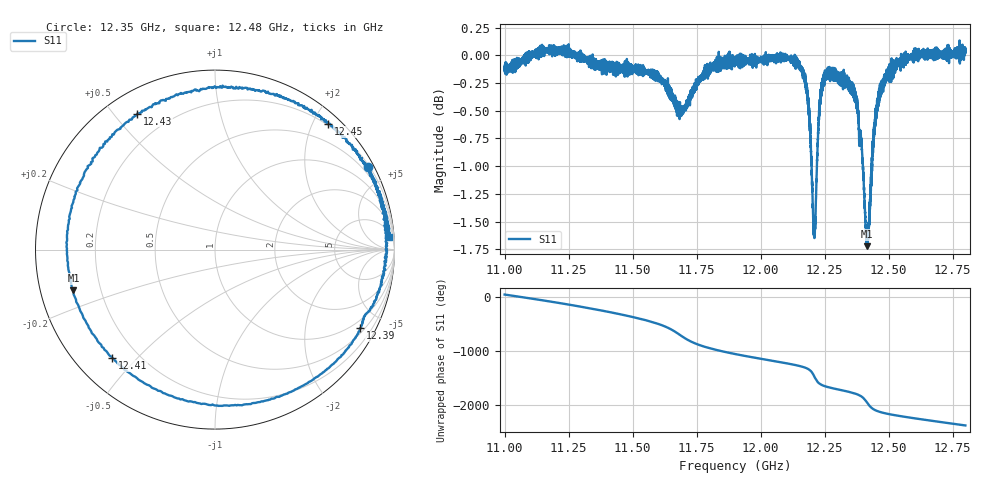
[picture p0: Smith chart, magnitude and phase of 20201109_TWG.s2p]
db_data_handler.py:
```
import sqlite3
from sqlite3 import Error
import os
import matplotlib.pyplot as plt
import seaborn as sns

from scipy.interpolate import interp1d, CubicSpline
import pandas as pd

import numpy as np
from scipy.integrate import simps
import scipy.signal as signal
plt.rcParams['savefig.dpi'] = 500


def connect_db(db_file):
    conn = None
    try:
        conn = sqlite3.connect(db_file)
        cursor = conn.cursor()
        print('connected to db.')
    except Error as e:
        print(e)

    return conn


def select_all_tasks(conn):
    """
    Query all rows in the tasks table
    :param conn: the Connection object
    :return:
    """
    cur = conn.cursor()
    cur.execute("SELECT * FROM home_record")
    rows = cur.fetchall()

    for row in rows:
        print(row)


def select_fs_task_id(conn, task_id, for_ch, ref_ch, fc_ch):
    cur = conn.cursor()
    cmd = f"SELECT {for_ch}, {ref_ch}, {fc_ch}, created_at, Xincr, NR_Pt FROM home_record WHERE type=? AND task_id=?"
    cur.execute(cmd, ('fs', task_id,))
    rows = cur.fetchall()

    for_data, ref_data, fc_data, time = [], [], [], []
    for row in rows:
        for_data_temp = [float(i) for i in row[0][1:-1].split(', ')]
        for_data.append(for_data_temp)
        ref_data_temp = [float(i) for i in row[1][1:-1].split(', ')]
        ref_data.append(ref_data_temp)
        fc_data_temp = [float(i) for i in row[2][1:-1].split(', ')]
        fc_data.append(fc_data_temp)
        time.append(row[3])

        Xincr = float(row[4])
        NR_Pt = int(row[5])
    return for_data, ref_data, fc_data, time, Xincr, NR_Pt


def select_ss_task_id(conn, task_id, ict3_ch, ict4_ch, diode_ch):
    cur = conn.cursor()
    cmd = f"SELECT {ict3_ch}, {ict4_ch}, created_at, Xincr, NR_Pt, {diode_ch} FROM home_record WHERE type=? AND task_id=?"
    cur.execute(cmd, ('ss', task_id,))
    rows = cur.fetchall()

    ict3_data, ict4_data, diode_data, time = [], [], [], []
    for row in rows:
        ict3_data_temp = [float(i) for i in row[0][1:-1].split(', ')]
        ict3_data.append(ict3_data_temp)
        ict4_data_temp = [float(i) for i in row[1][1:-1].split(', ')]
        ict4_data.append(ict4_data_temp)
        time.append(row[2])

        Xincr = float(row[3])
        NR_Pt = int(row[4])

        diode_data_temp = [float(i) for i in row[5][1:-1].split(', ')]
        diode_data.append(diode_data_temp)
    return ict3_data, ict4_data, time, Xincr, NR_Pt, diode_data

def cal_envolope(wfm, Xincr, NR_Pt):
    time = [Xincr * i for i in list(range(int(NR_Pt)))]
    time_new = np.linspace(np.min(time), np.max(time), len(time) * 1)
    V_ref_interp_f = interp1d(time, wfm, kind='cubic', bounds_error=False, fill_value=0)
    V_ref_interp = V_ref_interp_f(time_new)
    V_ref_interp_filter = butter_bandpass_filter(V_ref_interp, lowcut, highcut, 1/ (time_new[1]-time_new[0]))
    env = np.abs(signal.hilbert(V_ref_interp_filter))
    return np.array(time_new) * 1e9, env


def next_power_of_2(x):
    return 1 if x == 0 else 2**(x - 1).bit_length()


def cal_convolution(wfm, Xincr, NR_Pt):
    gun_s11_file_path = os.getcwd() + '/S11_data/20201109_TWG.s2p'
    gun_s11 = pd.read_fwf(gun_s11_file_path, header=None, skiprows=list(np.arange(0, 9)))
    gun_s11_f = [float(i) for i in gun_s11[0]]
    s_data = gun_s11[1].str.split(' ', expand=True)
    gun_s11_raw = [float(i) for i in s_data[0]]
    gun_s11_phi_raw = [float(i) for i in s_data[1]]

    df0 = 5e5
    fmax = 25e9

    length = np.arange(0, fmax, df0).size
    n = next_power_of_2(int(2*length))
    freq = np.linspace(0, 2*fmax, n)
    freq = freq[0:int(n/2)]

    dt = 1/2/fmax
    t = np.arange(0, n/2) * dt

    gun_s11_raw_linear = [10**(i/20) for i in gun_s11_raw]
    s11_real = np.array(gun_s11_raw_linear) * np.cos(np.deg2rad(gun_s11_phi_raw))
    s11_real_interp_f = interp1d(gun_s11_f, s11_real, kind='cubic', bounds_error=False, fill_value=0)
    s11_real_interp = s11_real_interp_f(freq)
    s11_real_interp = np.concatenate((s11_real_interp, np.flipud(s11_real_interp)), axis=None)

    s11_img = np.array(gun_s11_raw_linear) * np.sin(np.deg2rad(gun_s11_phi_raw))
    s11_img_interp_f = interp1d(gun_s11_f, s11_img, kind='cubic', bounds_error=False, fill_value=0)
    s11_img_interp = s11_img_interp_f(freq)
    s11_img_interp = np.concatenate((s11_img_interp, np.flipud(s11_img_interp)*(-1)), axis=None)

    s11 = s11_real_interp + 1j * s11_img_interp
    gun_S11_linear = np.fft.ifft(s11)

    time = [Xincr * i for i in list(range(int(NR_Pt)))]
    V_for_interp_f = interp1d(time, wfm, kind='cubic', bounds_error=False, fill_value=0)
    V_for_interp = V_for_interp_f(t)

    Y1_con = np.convolve(V_for_interp, gun_S11_linear.real, mode='full')
    Y1_con = Y1_con[0:int(n/2)]

    Y1_con_filter = butter_bandpass_filter(Y1_con, lowcut, highcut, 1/ (t[1]-t[0]))

    env = np.abs(signal.hilbert(Y1_con_filter))

    print('Convolution done.')
    return t * 1e9, env, Y1_con_filter

lowcut = 11e9
highcut = 12.4e9
# lowcut = 10e6
# highcut = 20e6

def butter_bandpass(lowcut, highcut, fs, order=5):
    nyq = 0.5 * fs
    low = lowcut / nyq
    high = highcut / nyq
    sos = signal.butter(order, [low, high], analog=False, btype='band', output='sos')
    return sos


def butter_bandpass_filter(data, lowcut, highcut, fs, order=5):
    sos = butter_bandpass(lowcut, highcut, fs, order=order)
    y = signal.sosfiltfilt(sos, data)
    return y


ICT_CALIBRATION_FACTOR = 1.25
ICT_CUT_LOW_BOUNDARY = 0
ICT_CUT_HIGH_BOUNDARY = 0

class CalICTCharge:
    def __init__(self, file, time, signal_volt):
        self.file = file
        self.time = time
        self.signal_volt = signal_volt
        self.signal_volt_denoise = []
        self.offset_all_shots = []
        self.dt = None
        self.charge_all_shots = []

        self.denoise_data()
        self.get_ict_charge()

    def denoise_data(self):
        for i in range(len(self.signal_volt)):
            N = 5       # Filter order
            Wn = 0.1    # Cutoff frequency
            sos = signal.butter(N, Wn, output='sos')
            self.signal_volt_denoise.append(signal.sosfiltfilt(sos, self.signal_volt[i]))

    def get_signal_offset(self):
        for i in range(len(self.signal_volt)):
            offset_single_shot = np.mean(self.signal_volt[i][:20])
            self.offset_all_shots.append(offset_single_shot)

    def integration_step(self):
        self.dt = abs(self.time[1] - self.time[0])

    def get_ict_charge(self):
        self.get_signal_offset()
        self.integration_step()
        volt_w_offset = [np.array(self.signal_volt[i]) - self.offset_all_shots[i] for i in range(len(self.offset_all_shots))]

        min = [np.min(volt_w_offset[i]) for i in range(len(volt_w_offset))]
        min_index = [list(volt_w_offset[i]).index(min[i]) for i in range(len(volt_w_offset))]

#         volt_w_offset = [volt_w_offset[i][min_index[i]-1500:min_index[i]+1500] for i in range(len(volt_w_offset))]
        volt_w_offset = [volt_w_offset[i] for i in range(len(volt_w_offset))]

        for i in range(len(volt_w_offset)):
            charge = simps(y=np.array(volt_w_offset[i]), dx=float(self.dt))
            self.charge_all_shots.append(abs(charge * 1e9 / ICT_CALIBRATION_FACTOR))  # charge in nC

        # remove highest N and lowest M results.
        desired_charges = sorted(self.charge_all_shots)[
                          ICT_CUT_LOW_BOUNDARY: (len(self.charge_all_shots) - ICT_CUT_HIGH_BOUNDARY)]
        print(f'min: {np.min(desired_charges): .2f} nC | max: {np.max(desired_charges): .2f} nC | '
              f'std: {np.std(desired_charges): .2f} nC | ave charge: {abs(np.mean(desired_charges)): .2f} nC')

    def plot_ict_data(self):
        for i in range(len(self.signal_volt)):
            plt.plot(self.time, self.signal_volt[i], c='b')
            plt.axhline(self.offset_all_shots[i], c='darkorange', ls=':')
            plt.xlabel('Time (s)')
            plt.ylabel('Voltage (V)')
            plt.show()


def main():
    db_path = os.getcwd()
    db = '/2022_10_04.sqlite3'
    conn = connect_db(db_path + db)

    id = 21
    with conn:
        for_data, ref_data, fc_data, time, xincr, NR_Pt = select_fs_task_id(conn, task_id=id, for_ch='Ch2', ref_ch='Ch3', fc_ch='Ch4')
        ict3_data, ict4_data, time_ss, xincr_ss, NR_Pt_ss = select_ss_task_id(conn, task_id=id, ict3_ch='Ch1', ict4_ch='Ch2')

    for i in range(len(ict3_data)):
        ict3_data[i] = np.array(ict3_data[i]) * 10 ** (10 / 20)
        ict4_data[i] = np.array(ict4_data[i]) * 10 ** (10 / 20)

    x_fs = [i * xincr for i in list(range(NR_Pt))]
    x_ss = [i * xincr_ss for i in list(range(NR_Pt_ss))]

    ICT_ch3 = CalICTCharge(time_ss, x_ss, ict3_data)
    ICT_ch4 = CalICTCharge(time_ss, x_ss, ict4_data)

    plt.scatter(list(range(len(ICT_ch3.charge_all_shots))), ICT_ch3.charge_all_shots, c=cmap3[0], label='ICT3')
    plt.scatter(list(range(len(ICT_ch3.charge_all_shots))), ICT_ch4.charge_all_shots, c=cmap3[2], label='ICT4')
    plt.axhline(abs(np.mean(ICT_ch3.charge_all_shots)), ls=':', c=cmap3[0])
    plt.axhline(abs(np.mean(ICT_ch4.charge_all_shots)), ls=':', c=cmap3[2])
    plt.legend(loc='lower right', fancybox=False, framealpha=0.7, edgecolor='k')
    plt.xlabel('Shot#', fontsize=13)
    plt.ylabel('Charge (nC)', fontsize=13)
    plt.grid(ls=":", alpha=0.5)
    plt.title('Data acquried from '+ time_ss[0].split(' ')[1] + ' to ' + time_ss[-1])
    plt.show()
#     print(time[0])


#     for i in range(len(for_data)):
#         fig, axes = plt.subplots(1, 3, figsize=(12, 4))
#         axes[0].plot(x_fs, for_data[i], label='forward', c=cmap3[0])
#         axes[1].plot(x_fs, ref_data[i], label='reflect', c=cmap3[2])
#         axes[2].plot(x_fs, fc_data[i], label='faraday cup', c=cmap3[4])
#
#         plt.suptitle(f'Shot#{i+1}/{len(for_data)}\nRF data acquired @ ' + time[i])
#         axes[0].set_xlabel('Time (ns)', fontsize=13)
#         axes[1].set_xlabel('Time (ns)', fontsize=13)
#         axes[2].set_xlabel('Time (ns)', fontsize=13)
#         axes[0].set_ylabel('Signal (V)', fontsize=13)
#         axes[0].legend(loc='lower right', fancybox=False, framealpha=0.7, edgecolor='k')
#         axes[1].legend(loc='lower right', fancybox=False, framealpha=0.7, edgecolor='k')
#         axes[2].legend(loc='lower right', fancybox=False, framealpha=0.7, edgecolor='k')
#         plt.tight_layout()
#         plt.show()

def process_diode_data(data):
    results = []
    for i in range(len(data)):
        results.append(max(data[i])-min(data[i]))
    return results


def plot_data():
    db_path = os.getcwd()
    db = '/2022_10_05.sqlite3'
    conn = connect_db(db_path + db)

    id = 38
    with conn:
        for_data, ref_data, fc_data, time, xincr, NR_Pt = select_fs_task_id(conn, task_id=id, for_ch='Ch2', ref_ch='Ch3', fc_ch='Ch4')
        ict3_data, ict4_data, time_ss, xincr_ss, NR_Pt_ss, diode_data = select_ss_task_id(conn, task_id=id, ict3_ch='Ch1', ict4_ch='Ch2', diode_ch='Ch3')

    x_fs = [i * xincr*1e9 for i in list(range(NR_Pt))]
    x_ss = [i * xincr_ss for i in list(range(NR_Pt_ss))]

    for i in range(len(ict3_data)):
        ict3_data[i] = np.array(ict3_data[i]) * 10 ** (20 / 20)
        ict4_data[i] = np.array(ict4_data[i]) * 10 ** (20 / 20)

    ICT_ch3 = CalICTCharge(time_ss, x_ss, ict3_data)
    ICT_ch4 = CalICTCharge(time_ss, x_ss, ict4_data)

    shot_num = 44
    plt.figure(1)
    t_env_ref, env_ref = cal_envolope(ref_data[shot_num], xincr, NR_Pt)
    t_pre, pre, Y1_con = cal_convolution(for_data[shot_num], xincr, NR_Pt)

    plt.plot(x_fs, ref_data[shot_num], c='navy', alpha=0.3)
    plt.plot(t_env_ref, env_ref, c='navy', label='Measured reflection', zorder=20)

    t_env_for, env_for = cal_envolope(for_data[shot_num], xincr, NR_Pt)
    plt.plot(x_fs, for_data[shot_num], c=cmap3[2], alpha=0.4)
    plt.plot(t_env_for, env_for, c=cmap3[3], label='forward raw')

    plt.plot(np.array(t_pre)+5, Y1_con, c=cmap3[5], alpha=0.3)
    plt.plot(np.array(t_pre)+5, pre, c=cmap3[5], label='Predicted reflection')

    plt.title(time[shot_num] + '\n' + "ICT3 Charge@" + str(ICT_ch3.charge_all_shots[shot_num]) + " nC")
    plt.legend(loc='lower right', fancybox=False, framealpha=0.7, edgecolor='k')
    plt.xlim(125, 180)
    plt.xlim(120, 175)
#     plt.xlim(142, 168)
    plt.ylabel("RF signal (V) ", fontsize=15)
    plt.xlabel("Time (ns) ", fontsize=15)
    plt.grid(ls=':', alpha=0.5)
    xmin, xmax, ymin, ymax = plt.axis()
    plt.annotate(f'ratio={np.max(env_ref)/np.max(Y1_con): .3f}', (160, 0.5), ha='center', fontsize='13', color="black",
                    annotation_clip=False)
    plt.tick_params(labelsize=11)
    plt.tight_layout()

#     plt.figure(2)
#     plt.title("FC signal " + time_ss[shot_num] + '\n' + "ICT3 Charge@" + str(ICT_ch3.charge_all_shots[shot_num]) + " nC")
#     plt.plot(np.array(x_ss)*1e9, diode_data[shot_num])
#     plt.xlabel("Time (ns) ", fontsize=15)
#     plt.ylim(-3, 3)
#     plt.grid(ls=':', alpha=0.5)
#     plt.figure(2)
#     plt.scatter(list(range(len(ICT_ch3.charge_all_shots))), ICT_ch3.charge_all_shots, c=cmap3[0], label='ICT3')
#     plt.scatter(list(range(len(ICT_ch3.charge_all_shots))), ICT_ch4.charge_all_shots, c=cmap3[2], label='ICT4')

    plt.show()

def plot_diode_data():
    db_path = os.getcwd()
    db = '/2022_10_05.sqlite3'
    conn = connect_db(db_path + db)

    id_ls = [11,12,16,15,17,18,19,20]
    c = 0
    with conn:
        for id in id_ls:
            for_data, ref_data, fc_data, time, xincr, NR_Pt = select_fs_task_id(conn, task_id=id, for_ch='Ch2', ref_ch='Ch3', fc_ch='Ch4')
            ict3_data, ict4_data, time_ss, xincr_ss, NR_Pt_ss, diode_data = select_ss_task_id(conn, task_id=id, ict3_ch='Ch1', ict4_ch='Ch2', diode_ch='Ch4')

            x_fs = [i * xincr*1e9 for i in list(range(NR_Pt))]
            x_ss = [i * xincr_ss for i in list(range(NR_Pt_ss))]

            for i in range(len(ict3_data)):
                ict3_data[i] = np.array(ict3_data[i]) * 10 ** (10 / 20)
                ict4_data[i] = np.array(ict4_data[i]) * 10 ** (10 / 20)

            ICT_ch3 = CalICTCharge(time_ss, x_ss, ict3_data)

            diode = process_diode_data(diode_data)

            plt.scatter(ICT_ch3.charge_all_shots, diode, c=cmap3[c], label="Charge:" + str(format(np.mean(ICT_ch3.charge_all_shots), '.1f')) + ' nC')
            plt.legend(loc='lower right', fancybox=False, framealpha=0.7, edgecolor='k')
            plt.xlabel("ICT3 Charge (nC) ", fontsize=13)
            plt.ylabel("Diode signal max-min (a.u.) ", fontsize=13)
            c+=1
    plt.show()

if __name__ == '__main__':
    cmap3 = sns.color_palette("Paired", 8)
#     main()
    plot_data()
#     plot_diode_data()
```
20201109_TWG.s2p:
!Agilent Technologies,N5230C,MY48100395,A.09.33.09
!Agilent N5230C: A.09.33.09
!Date: Monday, November 09, 2020 14:38:01
!Correction: S11(Full 1 Port(1))
!S21(Off)
!S12(Off)
!S22(Off)
!S2P File: Measurements: S11, S21, S12, S22:
# Hz S  dB  R 50
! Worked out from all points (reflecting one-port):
!   16001 points, 11 GHz to 12.8 GHz, reference 50 ohm
!   lowest |S11| = -1.7 dB at 12.42 GHz (marker M1), VSWR 10.12, Z = 5.04 - j6.95 ohm
!   phase of S11 starts at 41 deg and turns -2425 deg over the sweep
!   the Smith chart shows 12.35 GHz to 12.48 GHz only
!   S11 on the Smith chart (normalised r, x): 12.35 GHz: 0.27, +3.91; 12.39 GHz: 0.68, -3.84; 12.41 GHz: 0.11, -0.43; 12.43 GHz: 0.09, +0.58; 12.45 GHz: 0.18, +2.23; 12.48 GHz: 10, +25
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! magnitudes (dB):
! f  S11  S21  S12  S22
! 11 GHz  -0.1  -  -  -
! 11.9 GHz  0.0  -  -  -
! 12.21 GHz  -1.6  -  -  -
! 12.35 GHz  -0.3  -  -  -
! 12.39 GHz  -0.7  -  -  -
! 12.41 GHz  -1.6  -  -  -
! 12.42 GHz  -1.7  -  -  -
! 12.43 GHz  -1.2  -  -  -
! 12.45 GHz  -0.5  -  -  -
! 12.48 GHz  -0.2  -  -  -
! 12.8 GHz  0.0  -  -  -
